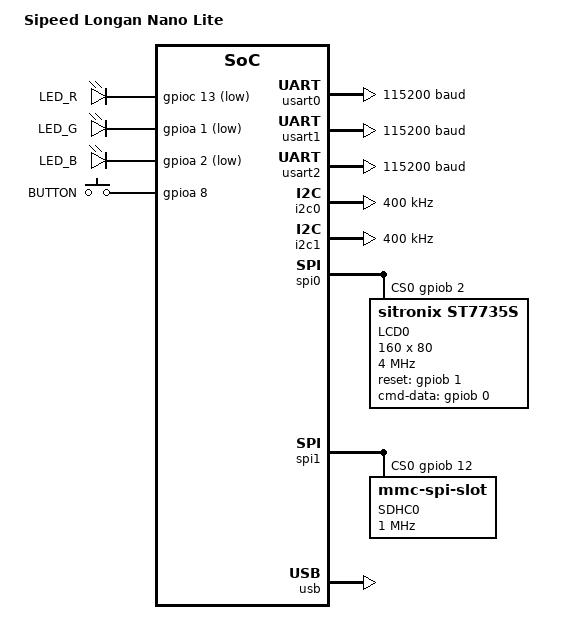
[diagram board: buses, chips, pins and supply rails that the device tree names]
/* SPDX-License-Identifier: Apache-2.0 */

/dts-v1/;
#include <gigadevice-gd32vf103X8.dtsi>

/ {
	model = "Sipeed Longan Nano Lite";
	compatible = "sipeed,longan_nano_lite";

	chosen {
		zephyr,console = &usart0;
		zephyr,shell-uart = &usart0;
		zephyr,sram = &sram0;
		zephyr,flash = &flash0;
	};

	leds {
		compatible = "gpio-leds";
		led_red: led_red {
			gpios = <&gpioc 13 GPIO_ACTIVE_LOW>;
			label = "LED_R";
		};
		led_green: led_green {
			gpios = <&gpioa 1 GPIO_ACTIVE_LOW>;
			label = "LED_G";
		};
		led_blue: led_blue {
			gpios = <&gpioa 2 GPIO_ACTIVE_LOW>;
			label = "LED_B";
		};
	};

	gpio_keys {
		compatible = "gpio-keys";
		button: button {
			gpios = <&gpioa 8 GPIO_ACTIVE_HIGH>;
			label = "BUTTON";
		};
	};

	aliases {
		led0 = &led_red;
		led1 = &led_green;
		led2 = &led_blue;
		sw0 = &button;
	};
};

&usart0 {
	current-speed = <115200>;
	status = "okay";
};

&usart1 {
	current-speed = <115200>;
	status = "okay";
};

&usart2 {
	current-speed = <115200>;
	status = "okay";
};

&i2c0 {
	status = "okay";
	clock-frequency = <I2C_BITRATE_FAST>;
};

&i2c1 {
	status = "okay";
	clock-frequency = <I2C_BITRATE_FAST>;
};

&spi0 {
	status = "okay";
        cs-gpios = <&gpiob 2 0>;

        lcd0: lcd@0 {
                compatible = "sitronix,st7735s";
                reg = <0>;
                status = "okay";
                label = "LCD0";
		reset-gpios = <&gpiob 1 0>;
		cmd-data-gpios = <&gpiob 0 0>;
		width = <160>;
		height = <80>;
		x-offset = <1>;
		y-offset = <26>;
                spi-max-frequency = <4000000>;
        };
};

&spi1 {
	status = "okay";
        cs-gpios = <&gpiob 12 0>;

        sdhc0: sdhc@0 {
                compatible = "zephyr,mmc-spi-slot";
                reg = <0>;
                status = "okay";
                label = "SDHC0";
                spi-max-frequency = <1000000>;
        };

};

&usb {
	status = "okay";
};
